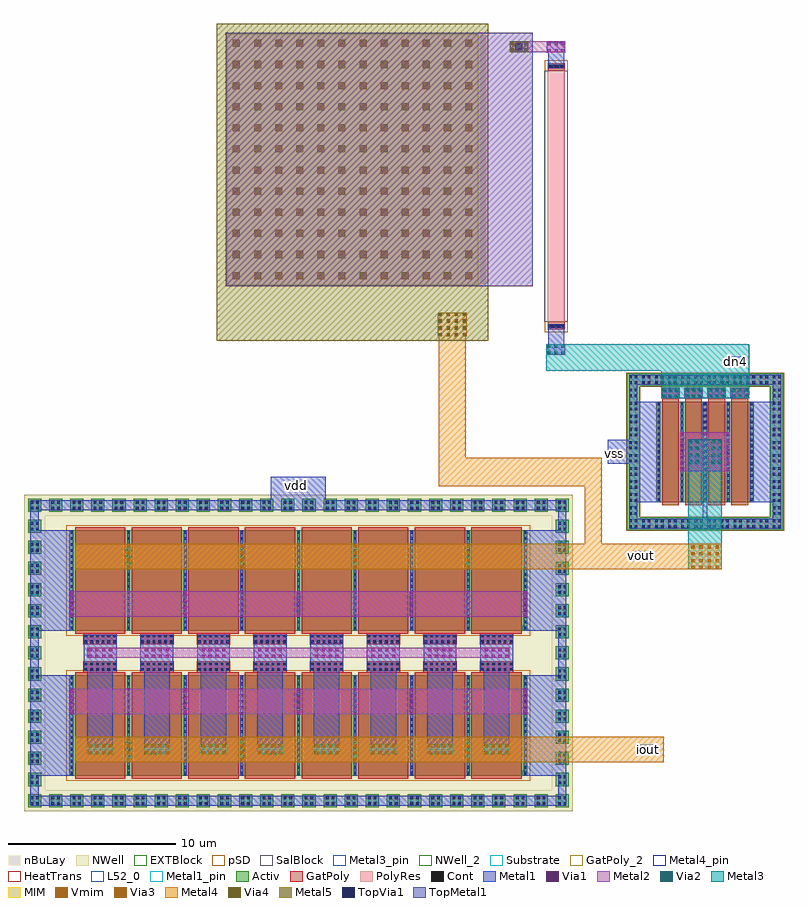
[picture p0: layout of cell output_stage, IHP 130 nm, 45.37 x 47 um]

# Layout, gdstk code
import gdstk
lib = gdstk.Library(unit=1e-6, precision=1e-09)
def R(c, l, rs):  # rectangles x0, y0, x1, y1
    for r in rs: c.add(gdstk.rectangle(r[:2], r[2:], *l))
def A(c, l, x, y, w, h, nx, ny, dx, dy):  # array of equal rectangles
    R(c, l, [(x+i*dx, y+j*dy, x+i*dx+w, y+j*dy+h) for i in range(nx) for j in range(ny)])
Activ = (1, 0)
GatPoly = (5, 0)
GatPoly_2 = (5, 2)
Cont = (6, 0)
Metal1 = (8, 0)
Metal1_pin = (8, 2)
Metal2 = (10, 0)
pSD = (14, 0)
Via1 = (19, 0)
SalBlock = (28, 0)
Via2 = (29, 0)
Metal3 = (30, 0)
Metal3_pin = (30, 2)
NWell = (31, 0)
NWell_2 = (31, 2)
nBuLay = (32, 0)
MIM = (36, 0)
Substrate = (40, 0)
Via3 = (49, 0)
Metal4 = (50, 0)
Metal4_pin = (50, 2)
HeatTrans = (51, 0)
L52_0 = (52, 0)
Via4 = (66, 0)
Metal5 = (67, 0)
EXTBlock = (111, 0)
TopVia1 = (125, 0)
TopMetal1 = (126, 0)
PolyRes = (128, 0)
Vmim = (129, 0)

ntap1 = lib.new_cell('ntap1')
R(ntap1, Activ, [(0,0,0.78,0.78)])
R(ntap1, Cont, [(0.14,0.14,0.3,0.3), (0.48,0.14,0.64,0.3), (0.14,0.48,0.3,0.64), (0.48,0.48,0.64,0.64)])
R(ntap1, Metal1, [(0.14,0.09,0.64,0.69)])
R(ntap1, Metal1_pin, [(0.14,0.09,0.64,0.69), (0.14,0.14,0.64,0.64)])
R(ntap1, NWell, [(-0.24,-0.24,1.02,1.02), (0,0,0.78,0.78)])
R(ntap1, NWell_2, [(0,0,0.78,0.78)])
R(ntap1, nBuLay, [(-0.24,-0.24,1.02,1.02)])
ntap1.add(gdstk.Label('well', (0.39,0.01), layer=63, texttype=0))
ntap1.add(gdstk.Label('well', (0.39,0.01), layer=31, texttype=0))

ptap1 = lib.new_cell('ptap1')
R(ptap1, Activ, [(0,0,0.78,0.78)])
R(ptap1, Cont, [(0.14,0.14,0.3,0.3), (0.48,0.14,0.64,0.3), (0.14,0.48,0.3,0.64), (0.48,0.48,0.64,0.64)])
R(ptap1, Metal1, [(0.14,0.09,0.64,0.69), (0.14,0.14,0.64,0.64)])
R(ptap1, Metal1_pin, [(0.14,0.14,0.64,0.64)])
R(ptap1, pSD, [(-0.03,-0.03,0.81,0.81)])
R(ptap1, Substrate, [(0,0,0.78,0.78)])
ptap1.add(gdstk.Label('sub!', (0.39,0.01), layer=63, texttype=0))
ptap1.add(gdstk.Label('sub!', (0.39,0.01), layer=40, texttype=0))

pmos = lib.new_cell('pmos')
A(pmos, Activ, 0, 0, 0.3, 0.3, 9, 1, 3.38, 0)
R(pmos, Activ, [(0,0,27.34,6)])
A(pmos, GatPoly, 0.34, -0.18, 3, 6.36, 8, 1, 3.38, 0)
R(pmos, GatPoly, [(0.34,-0.18,3.34,6.18)])
A(pmos, Cont, 0.07, 0.07, 0.16, 0.16, 9, 4, 3.38, 0.355)
A(pmos, Cont, 0.07, 1.495, 0.16, 0.16, 9, 4, 3.38, 0.355)
A(pmos, Cont, 0.07, 2.92, 0.16, 0.16, 9, 4, 3.38, 0.355)
A(pmos, Cont, 0.07, 4.345, 0.16, 0.16, 9, 4, 3.38, 0.355)
A(pmos, Cont, 0.07, 5.77, 0.16, 0.16, 9, 1, 3.38, 0)
A(pmos, Metal1, 3.45, 0, 0.16, 6, 8, 1, 3.38, 0)
R(pmos, Metal1, [(0.07,0,0.23,6), (0.07,0,0.23,6), (3.45,0,3.61,6)])
R(pmos, pSD, [(-0.18,-0.3,27.52,6.3)])
R(pmos, NWell, [(-0.31,-0.31,27.65,6.31)])
R(pmos, Substrate, [(27.04,0,27.34,0.3)])
A(pmos, HeatTrans, 0.34, -0.18, 3, 6.36, 8, 1, 3.38, 0)
pmos.add(gdstk.Label('pmos', (1.84,3), layer=63, texttype=0))
pmos.add(gdstk.Label('pmos', (1.84,3), layer=51, texttype=0))
pmos.add(gdstk.Label('pmos', (5.22,3), layer=51, texttype=0))
pmos.add(gdstk.Label('pmos', (8.6,3), layer=51, texttype=0))
pmos.add(gdstk.Label('pmos', (11.98,3), layer=51, texttype=0))
pmos.add(gdstk.Label('pmos', (15.36,3), layer=51, texttype=0))
pmos.add(gdstk.Label('pmos', (18.74,3), layer=51, texttype=0))
pmos.add(gdstk.Label('pmos', (22.12,3), layer=51, texttype=0))
pmos.add(gdstk.Label('pmos', (25.5,3), layer=51, texttype=0))

via_stack = lib.new_cell('via_stack')
R(via_stack, Metal1, [(-0.105,-0.76,0.105,0.76)])
R(via_stack, Metal2, [(-0.1,-0.76,0.1,0.76)])
A(via_stack, Via1, -0.095, -0.71, 0.19, 0.19, 1, 4, 0, 0.41)
A(via_stack, Via2, -0.095, -0.71, 0.19, 0.19, 1, 4, 0, 0.41)
R(via_stack, Metal3, [(-0.1,-0.76,0.1,0.76)])
A(via_stack, Via3, -0.095, -0.71, 0.19, 0.19, 1, 4, 0, 0.41)
R(via_stack, Metal4, [(-0.1,-0.76,0.1,0.76)])

via_stack_2 = lib.new_cell('via_stack$2')
R(via_stack_2, Metal1, [(-0.105,-0.76,0.105,0.76)])
R(via_stack_2, Metal2, [(-0.1,-0.76,0.1,0.76)])
A(via_stack_2, Via1, -0.095, -0.71, 0.19, 0.19, 1, 4, 0, 0.41)

via_stack_4 = lib.new_cell('via_stack$4')
R(via_stack_4, GatPoly, [(-1,-0.32,1,0.32)])
A(via_stack_4, Cont, -0.93, -0.25, 0.16, 0.16, 6, 2, 0.34, 0.34)
R(via_stack_4, Metal1, [(-0.98,-0.25,0.98,0.25)])

via_stack_7 = lib.new_cell('via_stack$7')
R(via_stack_7, Metal1, [(-0.76,-0.31,0.76,0.31)])
R(via_stack_7, Metal2, [(-0.76,-0.305,0.76,0.305)])
A(via_stack_7, Via1, -0.71, -0.3, 0.19, 0.19, 4, 2, 0.41, 0.41)

via_stack_5 = lib.new_cell('via_stack$5')
R(via_stack_5, Metal1, [(-0.76,-0.31,0.76,0.31)])
R(via_stack_5, Metal2, [(-0.76,-0.305,0.76,0.305)])
A(via_stack_5, Via1, -0.71, -0.3, 0.19, 0.19, 4, 2, 0.41, 0.41)
A(via_stack_5, Via2, -0.71, -0.3, 0.19, 0.19, 4, 2, 0.41, 0.41)
R(via_stack_5, Metal3, [(-0.76,-0.305,0.76,0.305)])
A(via_stack_5, Via3, -0.71, -0.3, 0.19, 0.19, 4, 2, 0.41, 0.41)
R(via_stack_5, Metal4, [(-0.76,-0.305,0.76,0.305)])

via_stack_9 = lib.new_cell('via_stack$9')
R(via_stack_9, GatPoly, [(-0.49,-0.32,0.49,0.32)])
A(via_stack_9, Cont, -0.42, -0.25, 0.16, 0.16, 3, 2, 0.34, 0.34)
R(via_stack_9, Metal1, [(-0.555,-0.31,0.555,0.31)])
R(via_stack_9, Metal2, [(-0.555,-0.305,0.555,0.305)])
A(via_stack_9, Via1, -0.505, -0.3, 0.19, 0.19, 3, 2, 0.41, 0.41)
A(via_stack_9, Via2, -0.505, -0.3, 0.19, 0.19, 3, 2, 0.41, 0.41)
R(via_stack_9, Metal3, [(-0.555,-0.305,0.555,0.305)])

via_stack_6 = lib.new_cell('via_stack$6')
R(via_stack_6, Metal1, [(-0.105,-1.17,0.105,1.17)])
R(via_stack_6, Metal2, [(-0.1,-1.17,0.1,1.17)])
A(via_stack_6, Via1, -0.095, -1.12, 0.19, 0.19, 1, 6, 0, 0.41)

via_stack_8 = lib.new_cell('via_stack$8')
R(via_stack_8, Metal2, [(-0.305,-0.76,0.305,0.76)])
A(via_stack_8, Via2, -0.3, -0.71, 0.19, 0.19, 1, 4, 0, 0.41)
A(via_stack_8, Via2, 0.11, -0.71, 0.19, 0.19, 1, 4, 0, 0.41)
R(via_stack_8, Metal3, [(-0.305,-0.76,0.305,0.76)])

nmos = lib.new_cell('nmos')
A(nmos, Activ, 0, 0, 0.3, 0.3, 5, 1, 1.38, 0)
R(nmos, Activ, [(0,0,5.82,6)])
A(nmos, GatPoly, 0.34, -0.18, 1, 6.36, 4, 1, 1.38, 0)
R(nmos, GatPoly_2, [(0.34,-0.18,1.34,6.18)])
A(nmos, Cont, 0.07, 0.07, 0.16, 0.16, 5, 4, 1.38, 0.355)
A(nmos, Cont, 0.07, 1.495, 0.16, 0.16, 5, 4, 1.38, 0.355)
A(nmos, Cont, 0.07, 2.92, 0.16, 0.16, 5, 4, 1.38, 0.355)
A(nmos, Cont, 0.07, 4.345, 0.16, 0.16, 5, 4, 1.38, 0.355)
A(nmos, Cont, 0.07, 5.77, 0.16, 0.16, 5, 1, 1.38, 0)
A(nmos, Metal1, 0.07, 0, 0.16, 6, 5, 1, 1.38, 0)
R(nmos, Metal1_pin, [(0.07,0,0.23,6), (1.45,0,1.61,6)])
A(nmos, HeatTrans, 0.34, -0.18, 1, 6.36, 4, 1, 1.38, 0)
nmos.add(gdstk.Label('nmos', (0.84,3), layer=63, texttype=0))
nmos.add(gdstk.Label('nmos', (0.84,3), layer=51, texttype=0))
nmos.add(gdstk.Label('nmos', (2.22,3), layer=51, texttype=0))
nmos.add(gdstk.Label('nmos', (3.6,3), layer=51, texttype=0))
nmos.add(gdstk.Label('nmos', (4.98,3), layer=51, texttype=0))

via_stack_18 = lib.new_cell('via_stack$18')
R(via_stack_18, Metal3, [(-0.865,-0.715,0.865,0.715)])
A(via_stack_18, Via3, -0.815, -0.71, 0.19, 0.19, 4, 4, 0.48, 0.41)
R(via_stack_18, Metal4, [(-0.865,-0.715,0.865,0.715)])

via_stack_16 = lib.new_cell('via_stack$16')
R(via_stack_16, Metal1, [(-0.555,-0.31,0.555,0.31)])
R(via_stack_16, Metal2, [(-0.555,-0.305,0.555,0.305)])
A(via_stack_16, Via1, -0.505, -0.3, 0.19, 0.19, 3, 2, 0.41, 0.41)
A(via_stack_16, Via2, -0.505, -0.3, 0.19, 0.19, 3, 2, 0.41, 0.41)
R(via_stack_16, Metal3, [(-0.555,-0.305,0.555,0.305)])

via_stack_12 = lib.new_cell('via_stack$12')
R(via_stack_12, Metal2, [(-0.555,-0.305,0.555,0.305)])
A(via_stack_12, Via2, -0.505, -0.3, 0.19, 0.19, 3, 2, 0.41, 0.41)
R(via_stack_12, Metal3, [(-0.555,-0.305,0.555,0.305)])
A(via_stack_12, Via3, -0.505, -0.3, 0.19, 0.19, 3, 2, 0.41, 0.41)
R(via_stack_12, Metal4, [(-0.555,-0.305,0.555,0.305)])
A(via_stack_12, Via4, -0.505, -0.3, 0.19, 0.19, 3, 2, 0.41, 0.41)
R(via_stack_12, Metal5, [(-0.555,-0.31,0.555,0.31)])
R(via_stack_12, TopVia1, [(-0.21,-0.21,0.21,0.21)])
R(via_stack_12, TopMetal1, [(-0.82,-0.82,0.82,0.82)])

via_stack_14 = lib.new_cell('via_stack$14')
R(via_stack_14, Metal1, [(-0.555,-0.31,0.555,0.31)])
R(via_stack_14, Metal2, [(-0.555,-0.305,0.555,0.305)])
A(via_stack_14, Via1, -0.505, -0.3, 0.19, 0.19, 3, 2, 0.41, 0.41)

rppd = lib.new_cell('rppd')
R(rppd, GatPoly, [(0,-0.43,1,-0.2), (0,-0.2,1,0), (0,15,1,15.2), (0,15.2,1,15.43)])
R(rppd, Cont, [(0.07,-0.36,0.93,-0.2), (0.07,15.2,0.93,15.36)])
R(rppd, Metal1, [(0.02,-0.43,0.98,-0.13), (0.02,15.13,0.98,15.43)])
R(rppd, Metal1_pin, [(0.02,-0.43,0.98,-0.13), (0.02,15.13,0.98,15.43)])
R(rppd, pSD, [(-0.18,-0.61,1.18,0), (-0.18,0,1.18,15), (-0.18,15,1.18,15.61)])
R(rppd, SalBlock, [(-0.2,0,1.2,15)])
R(rppd, L52_0, [(0,0,1,15)])
R(rppd, EXTBlock, [(-0.18,-0.61,1.18,0), (-0.2,0,1.2,15), (-0.18,15,1.18,15.61)])
R(rppd, PolyRes, [(0,0,1,15)])
rppd.add(gdstk.Label('rppd r=3946.740', (0.5,7.5), layer=63, texttype=0))
rppd.add(gdstk.Label('rppd', (0.5,7.5), layer=52, texttype=0))

cmim = lib.new_cell('cmim')
R(cmim, MIM, [(0,0,15,15)])
R(cmim, Metal5, [(-0.6,-0.6,15.6,15.6)])
R(cmim, TopMetal1, [(-0.06,-0.06,15.06,15.06)])
A(cmim, Vmim, 0.36, 0.36, 0.42, 0.42, 12, 12, 1.26, 1.26)

via_stack_21 = lib.new_cell('via_stack$21')
R(via_stack_21, Metal4, [(-0.865,-0.715,0.865,0.715)])
A(via_stack_21, Via4, -0.815, -0.71, 0.19, 0.19, 4, 4, 0.48, 0.41)
R(via_stack_21, Metal5, [(-0.865,-0.715,0.865,0.715)])

output_stage = lib.new_cell('output_stage')
A(output_stage, Metal1, -12.59, -6.065, 1.52, 6.375, 8, 1, 3.38, 0)
A(output_stage, Metal1, -12.81, -1.08, 1.96, 2.16, 8, 1, 3.38, 0)
R(output_stage, Metal1, [(-16,-9.12,16,-8.52), (-16,-9.12,-15.5,9.12), (15.5,-9.12,16,9.12), (-16,-7.33,-13.44,-1.33), (13.44,-7.33,16,-1.33), (-16,1.33,-13.44,7.33), (13.44,1.33,16,7.33), (19.735,7.415,20.235,16.595), (19.735,7.415,28.815,8.015), (24.135,7.415,24.415,15.005), (28.315,7.415,28.815,16.595), (-16,8.52,16,9.12), (-1.64,8.52,1.64,10.505), (19.735,9.005,21.595,15.005), (26.955,9.005,28.815,15.005), (18.455,11.275,19.735,12.735), (19.735,15.995,28.815,16.595), (14.905,17.795,15.865,19.625), (14.905,34.885,15.865,36.455)])
R(output_stage, Metal1_pin, [(-0.61,9.715,0.39,10.215), (18.575,11.75,19.175,12.05)])
R(output_stage, Metal2, [(-13.62,-3.665,13.62,-2.145), (-12.59,-0.305,12.59,0.305), (-12.59,-0.305,12.59,0.305), (-13.62,2.145,13.62,3.665), (22.795,10.835,25.755,13.175), (12.61,35.84,15.94,36.495)])
R(output_stage, Metal3, [(23.28,4.993,25.27,12.765), (21.65,15.2,26.9,18), (14.805,16.855,26.9,18.41)])
R(output_stage, Metal3_pin, [(25.615,17.165,26.615,17.665)])
R(output_stage, NWell, [(-15.12,-8.19,15.12,8.19)])
R(output_stage, Metal4, [(-13.33,-6.515,21.815,-4.995), (-13.33,4.993,25.27,6.513), (17.105,4.993,18.12,11.635), (8.37,9.96,10,20.31), (8.37,9.96,18.08,11.635)])
R(output_stage, Metal4_pin, [(20.395,-5.995,21.395,-5.495), (19.96,5.57,20.96,6.07)])
R(output_stage, Metal5, [(-4.87,18.62,11.33,37.55)])
R(output_stage, TopMetal1, [(-4.33,21.89,13.985,37.01)])
r = gdstk.Reference(ntap1, (-14.88,8.43)); r.repetition = gdstk.Repetition(24, 1, v1=(1.26,0), v2=(0,0)); output_stage.add(r)
r = gdstk.Reference(ntap1, (-14.88,-9.21)); r.repetition = gdstk.Repetition(24, 1, v1=(1.26,0), v2=(0,0)); output_stage.add(r)
r = gdstk.Reference(ntap1, (15.36,-9.21)); r.repetition = gdstk.Repetition(1, 15, v1=(0,0), v2=(0,1.26)); output_stage.add(r)
r = gdstk.Reference(ptap1, (19.595,15.905)); r.repetition = gdstk.Repetition(12, 1, v1=(0.78,0), v2=(0,0)); output_stage.add(r)
r = gdstk.Reference(ptap1, (19.595,7.325)); r.repetition = gdstk.Repetition(12, 1, v1=(0.78,0), v2=(0,0)); output_stage.add(r)
r = gdstk.Reference(ptap1, (19.595,8.105)); r.repetition = gdstk.Repetition(1, 10, v1=(0,0), v2=(0,0.78)); output_stage.add(r)
r = gdstk.Reference(ptap1, (28.175,8.105)); r.repetition = gdstk.Repetition(1, 10, v1=(0,0), v2=(0,0.78)); output_stage.add(r)
r = gdstk.Reference(ntap1, (-16.14,-9.21)); r.repetition = gdstk.Repetition(1, 15, v1=(0,0), v2=(0,1.26)); output_stage.add(r)
output_stage.add(gdstk.Reference(pmos, (-13.67,-7.33)))
output_stage.add(gdstk.Reference(pmos, (-13.67,1.33)))
r = gdstk.Reference(via_stack, (-10.138,5.753)); r.repetition = gdstk.Repetition(4, 1, v1=(6.76,0), v2=(0,0)); output_stage.add(r)
r = gdstk.Reference(via_stack_2, (-13.52,2.905)); r.repetition = gdstk.Repetition(5, 1, v1=(6.76,0), v2=(0,0)); output_stage.add(r)
r = gdstk.Reference(via_stack_2, (-13.52,-2.905)); r.repetition = gdstk.Repetition(5, 1, v1=(6.76,0), v2=(0,0)); output_stage.add(r)
r = gdstk.Reference(via_stack, (-10.14,-5.755)); r.repetition = gdstk.Repetition(4, 1, v1=(6.76,0), v2=(0,0)); output_stage.add(r)
r = gdstk.Reference(via_stack_4, (-11.83,0.83)); r.repetition = gdstk.Repetition(8, 1, v1=(3.38,0), v2=(0,0)); output_stage.add(r)
r = gdstk.Reference(via_stack_4, (-11.83,-0.83)); r.repetition = gdstk.Repetition(8, 1, v1=(3.38,0), v2=(0,0)); output_stage.add(r)
r = gdstk.Reference(via_stack_7, (-11.83,0)); r.repetition = gdstk.Repetition(8, 1, v1=(3.38,0), v2=(0,0)); output_stage.add(r)
r = gdstk.Reference(via_stack_5, (-11.83,-5.755)); r.repetition = gdstk.Repetition(8, 1, v1=(3.38,0), v2=(0,0)); output_stage.add(r)
r = gdstk.Reference(via_stack_9, (22.205,15.505)); r.repetition = gdstk.Repetition(4, 1, v1=(1.38,0), v2=(0,0)); output_stage.add(r)
r = gdstk.Reference(via_stack_6, (22.895,12.005)); r.repetition = gdstk.Repetition(2, 1, v1=(2.76,0), v2=(0,0)); output_stage.add(r)
output_stage.add(gdstk.Reference(via_stack_8, (23.585,12.005)))
output_stage.add(gdstk.Reference(via_stack_8, (24.965,12.005)))
output_stage.add(gdstk.Reference(nmos, (21.365,9.005)))
output_stage.add(gdstk.Reference(via_stack_18, (24.275,5.71)))
output_stage.add(gdstk.Reference(via_stack_16, (15.36,18.105)))
output_stage.add(gdstk.Reference(via_stack_12, (13.165,36.19)))
output_stage.add(gdstk.Reference(via_stack_14, (15.385,36.145)))
output_stage.add(gdstk.Reference(rppd, (14.885,19.755)))
output_stage.add(gdstk.Reference(cmim, (-4.27,21.95)))
output_stage.add(gdstk.Reference(via_stack_21, (9.185,19.6)))
output_stage.add(gdstk.Label('vss', (18.875,11.9), layer=8, texttype=25))
output_stage.add(gdstk.Label('vdd', (-0.11,9.965), layer=8, texttype=25))
output_stage.add(gdstk.Label('vout', (20.46,5.82), layer=50, texttype=25))
output_stage.add(gdstk.Label('iout', (20.895,-5.745), layer=50, texttype=25))
output_stage.add(gdstk.Label('dn4', (26.115,17.415), layer=30, texttype=25))

lib.write_gds('output_stage.gds')
